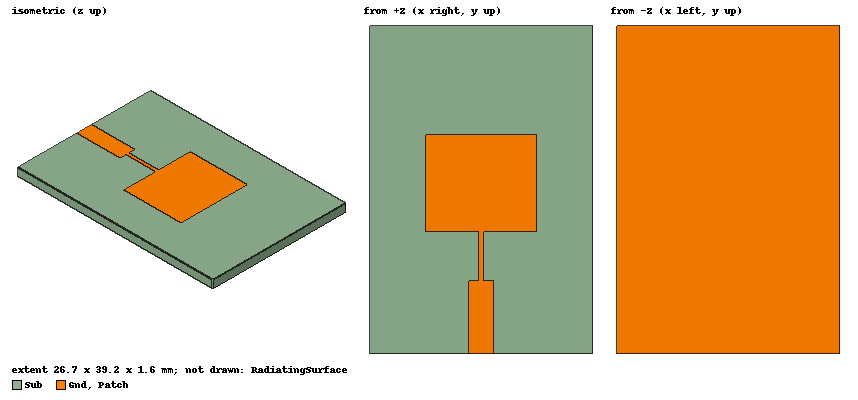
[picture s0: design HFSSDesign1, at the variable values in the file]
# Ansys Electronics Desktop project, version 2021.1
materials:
  vacuum: permittivity=1
  FR4_epoxy: permittivity=4.4 dielectric_loss_tangent=0.02

design HFSSDesign1 (HFSS, DrivenModal, model units mm)
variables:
  w = 13.33mm
  l = 11.48mm
  w1 = 3mm
  d1 = 8.7mm
  w2 = 0.62mm
  d2 = 5.94mm
  w0 = 26.7mm
  l0 = 39.2mm
  h = 1.6mm
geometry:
  Sub [FR4_epoxy] = box(corner=(-w0/2, -d1-d2, 0mm), size=(w0, l0, -h))
  Patch = rectangle(corner=(-w/2, 0mm, 0mm), x_size=w, y_size=l)
  Rectangle2 = rectangle(corner=(-w2/2, 0mm, 0mm), x_size=w2, y_size=-d2)
  Rectangle3 = rectangle(corner=(-w1/2, -d2, 0mm), x_size=w1, y_size=-d1)
  Patch.unite(Rectangle2, Rectangle3)
  Gnd = rectangle(corner=(-w0/2, -d1-d2, -h), x_size=w0, y_size=l0)
  RadiatingSurface [vacuum] = region(absolute_offset=57.142857mm on all sides)
  Port = rectangle(corner=(-w1/2, -d1-d2, 0mm), z_size=-h, x_size=w1)
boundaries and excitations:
  PerfE1: Perfect E Objects=[Gnd, Patch]
  Open1: Radiation Objects=RadiatingSurface
  1: Lumped Port Objects=Port Modes{Mode1{IntLine{middle of Port.edge(z at corner) -> middle of Port.edge(z opposite corner)} CharImp=Zpi RenormImp=50ohm}} Impedance=50ohm
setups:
  Setup1: HfssDriven Frequency=5.8GHz MaxDeltaS=0.02 MaximumPasses=15 MinimumPasses=1 MinimumConvergedPasses=1 PercentRefinement=30 BasisOrder=1 PortAccuracy=2
    sweep Sweep: 3.3GHz to 8.3GHz step 0.01GHz; Type=Interpolating InterpTolerance=0.5 InterpMaxSolns=250 InterpUsePortImped=false PassivityErrorTolerance=0.0001
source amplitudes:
  1:1: 1W 0deg
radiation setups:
  3D: Infinite Sphere Theta=0deg..180deg step 2deg Phi=-180deg..180deg step 2deg
  Elevation: Infinite Sphere Theta=-180deg..180deg step 1deg Phi=0deg..90deg step 90deg
  Azimuth: Infinite Sphere Theta=90deg..90deg step 0deg Phi=-180deg..180deg step 1deg
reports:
  S Parameter Plot 1: dB(S(1,1)) vs Freq on Setup1 : Sweep
